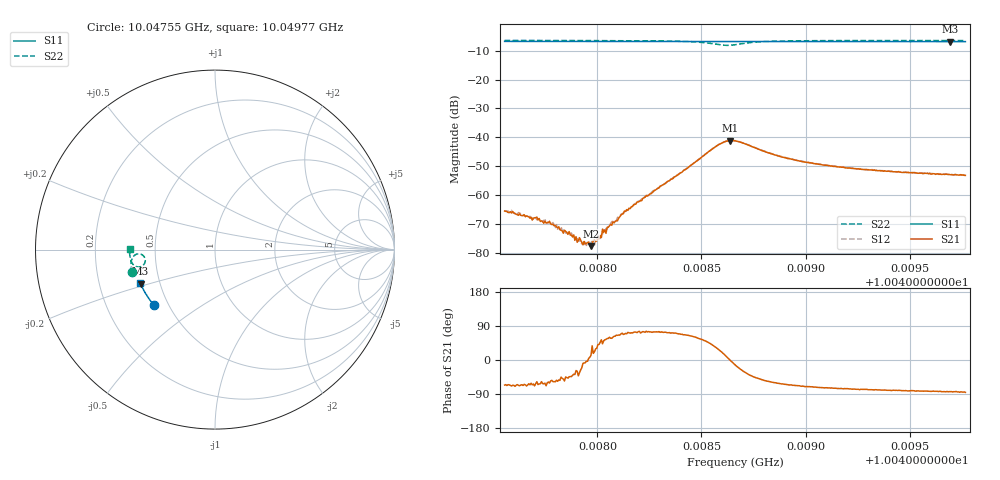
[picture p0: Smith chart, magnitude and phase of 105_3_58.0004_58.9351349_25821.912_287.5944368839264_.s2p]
#  HZ  S  RI  R  50.00
! Rohde & Schwarz Vector Network Analyzer
! Rohde-Schwarz,ZNB20-2Port,1311601062101988,3.16
! Created: UTC 3/21/2024, 12:54:59 AM
! freq[Hz]  re:S11  im:S11  re:S21  im:S21  re:S12  im:S12  re:S22  im:S22
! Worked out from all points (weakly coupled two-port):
!   401 points, 10.04755 GHz to 10.04977 GHz, reference 50 ohm
!   highest |S21| = -41.11 dB at 10.04864 GHz (marker M1); lowest = -77.7 dB at 10.04797 GHz (marker M2)
!   lowest |S11| = -6.8 dB at 10.0497 GHz (marker M3), VSWR 2.68, Z = 19.4 - j9.31 ohm
!   |S11| at or under -10 dB: nowhere
!   |S22| runs from -8.1 to -6.4 dB; largest |S21 - S12| = 0.00058
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1.0047554e10  -0.3403 -0.3095  0.000214 -0.000483  0.000241 -0.000459  -0.4608 -0.125
1.0047632e10  -0.3435 -0.3055  0.00018 -0.000408  0.000215 -0.000411  -0.4621 -0.1194
1.0047709e10  -0.347 -0.3017  0.000224 -0.000349  0.000206 -0.000311  -0.463 -0.1138
1.0047753e10  -0.3488 -0.2992  0.000124 -0.000304  0.000192 -0.000322  -0.4638 -0.1104
1.0047776e10  -0.3498 -0.298  0.000181 -0.00026  0.000168 -0.000266  -0.4642 -0.1087
1.0047875e10  -0.3538 -0.2928  0.000145 -0.000139  0.000178 -0.00013  -0.4653 -0.1009
1.0047925e10  -0.356 -0.2903  0.000142 -5.39e-05  0.000136 -4.83e-05  -0.466 -0.0969
1.0047969e10  -0.3577 -0.2878  0.000127 2.76e-05  0.000147 1.98e-05  -0.4663 -0.0931
1.0047986e10  -0.3584 -0.287  0.000156 6.24e-05  0.000123 5.86e-05  -0.4665 -0.0919
1.0048008e10  -0.3593 -0.2858  0.000131 0.000115  0.00016 0.000131  -0.4667 -0.0899
1.0048036e10  -0.3602 -0.2844  0.000149 0.000199  0.000138 0.000193  -0.4668 -0.0876
1.0048063e10  -0.3614 -0.2829  0.000166 0.000261  0.000158 0.000281  -0.467 -0.0851
1.004813e10  -0.364 -0.2793  0.000192 0.000491  0.000163 0.000469  -0.4671 -0.0787
1.0048296e10  -0.3704 -0.2703  0.000345 0.00129  0.00031 0.00131  -0.4654 -0.0603
1.0048573e10  -0.3798 -0.2545  0.006 0.00374  0.00578 0.00415  -0.4093 -0.0271
1.0048639e10  -0.3818 -0.2513  0.0088 -0.000187  0.00879 0.000394  -0.3885 -0.0651
1.0048661e10  -0.3827 -0.2504  0.00849 -0.00189  0.00866 -0.0014  -0.394 -0.0798
1.0048877e10  -0.3905 -0.2383  0.00218 -0.00413  0.00245 -0.00405  -0.4598 -0.0783
1.0049032e10  -0.3956 -0.2292  0.00118 -0.00336  0.00137 -0.00332  -0.4692 -0.0591
1.0049403e10  -0.4068 -0.2075  0.000456 -0.00254  0.00061 -0.00252  -0.4752 -0.0257
1.0049696e10  -0.4147 -0.1897  0.000252 -0.00224  0.000377 -0.00223  -0.476 -0.00346
1.0049768e10  -0.4167 -0.1855  0.000174 -0.00218  0.000352 -0.00218  -0.4761 0.00178
